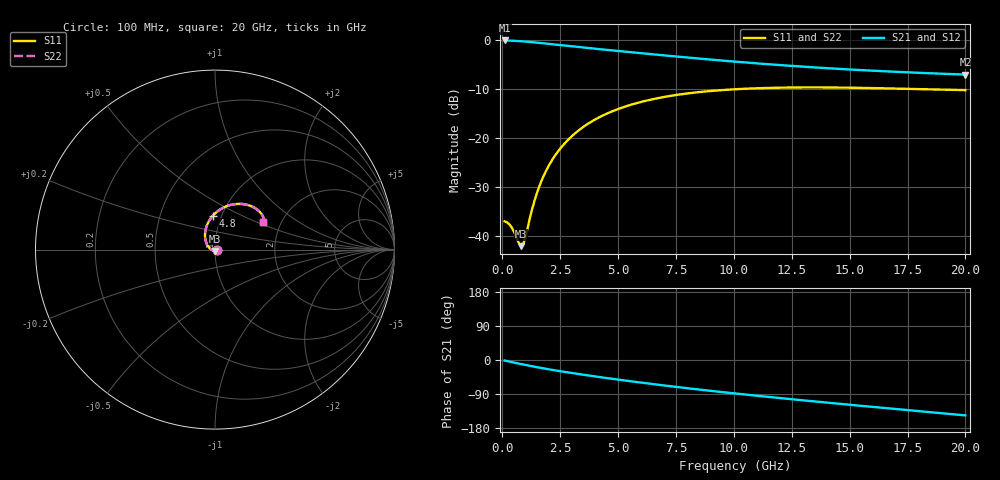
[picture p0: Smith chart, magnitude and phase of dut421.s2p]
! Touchstone file exported from HFSS 2024.1.0
!  File:  C:/UserFiles/LocalFiles/RDL_TSV_Batchsim/temp_RDL_TSV_421_1779717697.aedt
!  Generated:  10:15:15 PM May 25, 2026
!  Design:  RDL_TSV
!  Project:  temp_RDL_TSV_421_1779717697
!  Setup:  Setup1
!  Solution:  Sweep
! Variables:
!  dtsv = 12.27um
!  hbump = 3um
!  htsv = 66.8um
!  ldown = 231.59um
!  lrdl = 288.21um
!  p = 40
!  p1 = 45.58um
!  rhole = 10um
!  subl = 1847.61um
!  t = 450um
!  tdown = 4.14um
!  trdl = 2.51um
!  viad = 10um
!  wdown = 18.01um
!  wrdl = 15.78um
!  xbump = 18um
# GHz S MA R 50.000000
! Terminal data exported
! Port[1] = TM1_1_T1
! Port[2] = TM1_4_T1
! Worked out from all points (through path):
!   200 points, 100 MHz to 20 GHz, reference 50 ohm
!   highest |S21| = -0.13 dB at 100 MHz (marker M1); lowest = -7.1 dB at 20 GHz (marker M2)
!   group delay of S21, straight-line fit = 19.2 ps
!   lowest |S11| = -42.2 dB at 800 MHz (marker M3), VSWR 1.02, Z = 50 - j0.779 ohm
!   |S11| at or under -10 dB: start of sweep to 10.47 GHz; 17.36 GHz to end of sweep
!   |S22| runs from -42.2 to -9.7 dB; largest |S21 - S12| = 1.7e-14
!   S11 on the Smith chart (normalised r, x): 100 MHz: 1.03, -0.00; 4.8 GHz: 0.91, +0.35; 20 GHz: 1.61, +0.54
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0.1  0.01397 -5.2  0.9855 -1.4  0.9855 -1.4  0.01397 -5.2
! Gamma 0 0 0 0
! Port Impedance 50 0 50 0
0.4  0.01216 -25.5  0.9805 -5.4  0.9805 -5.4  0.01216 -25.5
0.8  0.007788 -87.8  0.968 -10.6  0.968 -10.6  0.007789 -87.8
0.9  0.008091 -113.9  0.964 -11.9  0.964 -11.9  0.008091 -113.8
1  0.009618 -137.2  0.9598 -13.1  0.9598 -13.1  0.009616 -137.2
1.2  0.01536 -167.5  0.9507 -15.5  0.9507 -15.5  0.01535 -167.5
1.4  0.02307 175.5  0.9409 -17.9  0.9409 -17.9  0.02306 175.5
1.6  0.03187 164.0  0.9307 -20.1  0.9307 -20.1  0.03186 164.1
1.9  0.04631 151.5  0.9149 -23.4  0.9149 -23.4  0.04629 151.5
2.2  0.0616 141.8  0.8991 -26.5  0.8991 -26.5  0.06159 141.8
2.6  0.08256 131.3  0.8783 -30.5  0.8783 -30.5  0.08253 131.3
3  0.1035 122.5  0.8583 -34.3  0.8583 -34.3  0.1035 122.5
3.5  0.1289 113.1  0.8344 -38.9  0.8344 -38.9  0.1289 113.1
4.1  0.1576 103.5  0.8074 -44.2  0.8074 -44.2  0.1576 103.5
4.8  0.1881 94.0  0.7775 -50.1  0.7775 -50.1  0.1881 94.0
5.7  0.2221 83.7  0.7415 -57.3  0.7415 -57.3  0.222 83.7
6.8  0.2558 73.3  0.7004 -65.8  0.7004 -65.8  0.2557 73.3
8.3  0.289 61.9  0.6498 -76.6  0.6498 -76.6  0.2888 61.9
10.1  0.313 51.4  0.5975 -88.6  0.5975 -88.6  0.3129 51.4
13.4  0.3266 38.4  0.5242 -108.8  0.5242 -108.8  0.3264 38.4
16.7  0.3188 31.6  0.4748 -127.7  0.4748 -127.7  0.3185 31.6
20  0.3064 29.9  0.4415 -146.2  0.4415 -146.2  0.3061 29.9
